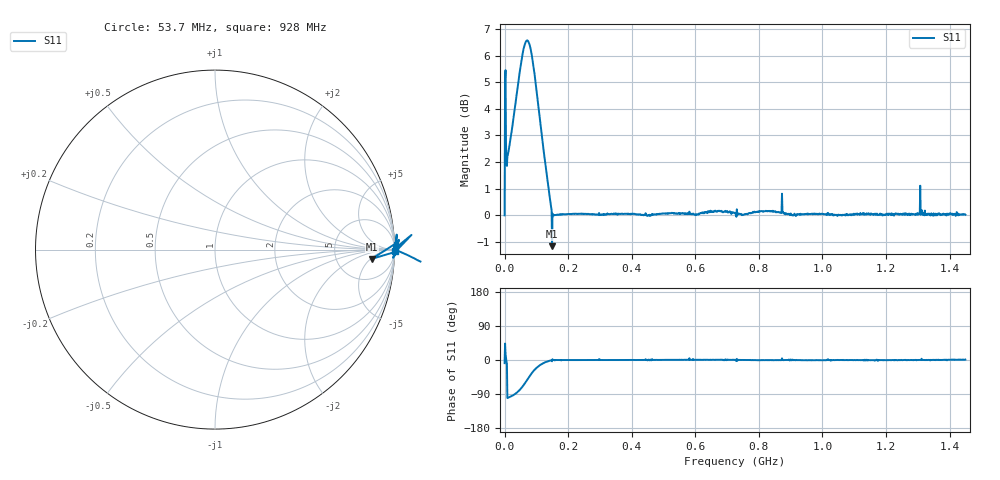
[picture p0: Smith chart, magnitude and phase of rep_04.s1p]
! Created with skrf 1.11.0 (http://scikit-rf.org).
# Hz S RI R 50.0
!freq ReS11 ImS11
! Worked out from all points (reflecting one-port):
!   1001 points, 50 kHz to 1.45 GHz, reference 50 ohm
!   lowest |S11| = -1.2 dB at 149.4 MHz (marker M1), VSWR 14.98, Z = 627 - j276 ohm
!   phase of S11 starts at -8 deg and turns +9 deg over the sweep
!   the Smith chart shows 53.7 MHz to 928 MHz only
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50000  0.9894 -0.1445
8749700  -0.2354 -1.268
1.019965e7  -0.2244 -1.279
1.16496e7  -0.2149 -1.294
1.599945e7  -0.1851 -1.348
2.759905e7  -0.0706 -1.515
3.77487e7  0.1006 -1.68
4.64484e7  0.3247 -1.809
5.659805e7  0.6868 -1.888
6.38478e7  0.998 -1.845
6.96476e7  1.244 -1.729
7.54474e7  1.445 -1.546
7.979725e7  1.56 -1.377
8.849695e7  1.661 -1.021
9.429675e7  1.656 -0.8048
1.015465e8  1.594 -0.5819
1.14596e8  1.426 -0.297
1.305455e8  1.213 -0.1077
1.421451e8  1.08 -0.0336
1.493948e8  0.8733 -0.0516
1.812938e8  1.003 -0.000419
3.625375e8  1.006 0.00205
5.437812e8  1.006 0.00848
7.25025e8  1.009 0.00873
9.062688e8  0.9993 0.0177
1.087512e9  1.002 0.000625
1.268756e9  1.002 -0.00583
1.45e9  1.002 0.0163
